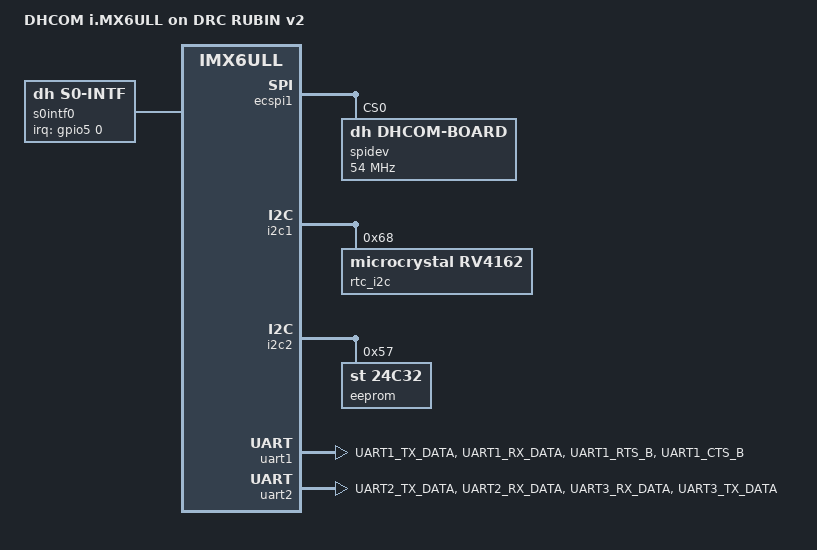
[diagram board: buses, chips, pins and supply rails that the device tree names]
// SPDX-License-Identifier: (GPL-2.0-or-later)
/*
 * Copyright (C) 2021 DH electronics GmbH
 */

/dts-v1/;

#include "imx6ull-dhcom.dtsi"
/* Special configurations */
//#include "imx6ull-dhcom-cfg-nand.dtsi"
//#include "imx6ull-dhcom-cfg-sdcard.dtsi"
//#include "imx6ull-dhcom-cfg-bootflash.dtsi"

/ {
	model = "DHCOM i.MX6ULL on DRC RUBIN v2";
	compatible = "dh,imx6ull-dhcom-drc_rubin-v2", "fsl,imx6ull";

	s0intf0 {// GPIO_A
		id = <0>; // used for minor char dev id
		compatible = "dh,s0-intf";
		interrupt-parent = <&gpio5>;
		interrupts = <0 IRQ_TYPE_EDGE_RISING>; // use GPIO_A for irq
		status = "okay";
	};
};

&cpu0 {
	imx6ull-limit-cpu-792mhz;
};

#ifndef CFG_BOOTFLASH
&ecspi1 { /* DHCOM SPI1 */
	spidev@0 {
		compatible = "dh,dhcom-board";
		reg = <0>;
		spi-max-frequency = <54000000>;
		spi-cpha; /* Shifted clock phase (CPHA) mode */
		spi-cpol; /* Inverse clock polarity (CPOL) mode */
	};
};
#endif

/delete-node/ &rtc_i2c;
&i2c1 { /* DHCOM I2C2 */
	rtc_i2c: rtc@68 {
		compatible = "microcrystal,rv4162";
		reg = <0x68>;
	};
};

&i2c2 { /* DHCOM I2C1 */
	eeprom@57 { /* ST M24C32-W, addresses 0x57 */
		compatible = "st,24c32";
		reg = <0x57>;
		pagesize = <32>;
	};
};

&uart1 { /* Prepare UART for RS485 */
	pinctrl-names = "rs485_idle", "rs485_active";
	pinctrl-0 = <&pinctrl_uart1_rs485_idle>;
	pinctrl-1 = <&pinctrl_uart1_rs485_active>;
	uart-has-rtscts;
	linux,rs485-enabled-at-boot-time;
};

&uart2 { /* Use UART as RS485 */
	pinctrl-names = "rs485_idle", "rs485_active";
	pinctrl-0 = <&pinctrl_uart2_rs485_idle>;
	pinctrl-1 = <&pinctrl_uart2_rs485_active>;
	linux,rs485-enabled-at-boot-time;
};

&iomuxc {
	pinctrl-names = "default";
	pinctrl-0 = <&pinctrl_hog_drc02>;

	pinctrl_hog_drc02: hog-drc02-grp {
		fsl,pins = <
			/* Used for uart1 CTS (RTS on DHCOM)                  GPIO I */
			MX6UL_PAD_CSI_HSYNC__GPIO4_IO20		0x400120b0 /* GPIO J -> In2 */
			MX6UL_PAD_CSI_PIXCLK__GPIO4_IO18	0x400120b0 /* GPIO K -> VA1 */
			MX6UL_PAD_CSI_MCLK__GPIO4_IO17		0x400120b0 /* GPIO L -> VA0 */
			MX6UL_PAD_CSI_VSYNC__GPIO4_IO19		0x400120b0 /* GPIO M -> RS485-1_TX_En */
#ifndef CFG_BOOTFLASH
			MX6UL_PAD_CSI_DATA07__GPIO4_IO28	0x400120b0 /* GPIO N -> PSOC_INT */
			MX6UL_PAD_CSI_DATA06__GPIO4_IO27	0x400120b0 /* GPIO O -> Out2 */
			MX6UL_PAD_CSI_DATA05__GPIO4_IO26	0x400120b0 /* GPIO P -> Out1 */
			MX6UL_PAD_CSI_DATA04__GPIO4_IO25	0x400120b0 /* GPIO Q -> HW2 */
			MX6UL_PAD_CSI_DATA03__GPIO4_IO24	0x400120b0 /* GPIO R -> HW1 */
			MX6UL_PAD_CSI_DATA02__GPIO4_IO23	0x400120b0 /* GPIO S -> HW0 */
			MX6UL_PAD_CSI_DATA01__GPIO4_IO22	0x400120b0 /* GPIO T -> RS485-1_RX_En */
			MX6UL_PAD_CSI_DATA00__GPIO4_IO21	0x400120b0 /* GPIO U -> RS485-2_RX_En */
#endif
			/* There isn't a pin defined                          GPIO V -> Not connected */
			/* There isn't a pin defined                          GPIO W -> Not connected */
			MX6UL_PAD_JTAG_TMS__GPIO1_IO11		0x400120b0 /* INT_HIGHEST_PRIORITY -> VIO */
		>;
	};

	pinctrl_uart1_rs485_idle: uart1-rs485-idle-grp {
		fsl,pins = <
			MX6UL_PAD_UART1_TX_DATA__UART1_DCE_TX	0x1b0b1
			MX6UL_PAD_UART1_RX_DATA__UART1_DCE_RX	0x1b0b1
			MX6UL_PAD_UART1_RTS_B__GPIO1_IO19	0x130b0
			MX6UL_PAD_UART1_CTS_B__GPIO1_IO18	0x130b0
		>;
	};

	pinctrl_uart1_rs485_active: uart1-rs485-active-grp {
		fsl,pins = <
			MX6UL_PAD_UART1_TX_DATA__UART1_DCE_TX	0x1b0b1
			MX6UL_PAD_UART1_RX_DATA__UART1_DCE_RX	0x1b0b1
			MX6UL_PAD_UART1_RTS_B__UART1_DCE_RTS	0x1b0b1
			MX6UL_PAD_UART1_CTS_B__UART1_DCE_CTS	0x1b0b1
		>;
	};

	pinctrl_uart2_rs485_idle: uart2-rs485-idle-grp {
		fsl,pins = <
			MX6UL_PAD_UART2_TX_DATA__UART2_DCE_TX	0x1b0b1
			MX6UL_PAD_UART2_RX_DATA__UART2_DCE_RX	0x1b0b1
			MX6UL_PAD_UART3_RX_DATA__GPIO1_IO25	0x130b0
			MX6UL_PAD_UART3_TX_DATA__GPIO1_IO24	0x130b0
		>;
	};

	pinctrl_uart2_rs485_active: uart2-rs485-active-grp {
		fsl,pins = <
			MX6UL_PAD_UART2_TX_DATA__UART2_DCE_TX	0x1b0b1
			MX6UL_PAD_UART2_RX_DATA__UART2_DCE_RX	0x1b0b1
			MX6UL_PAD_UART3_RX_DATA__UART2_DCE_RTS	0x1b0b1
			MX6UL_PAD_UART3_TX_DATA__UART2_DCE_CTS	0x1b0b1
		>;
	};
};

&iomuxc_snvs {
	pinctrl-names = "default";
	pinctrl-0 = <&pinctrl_snvs_hog_drc02>;

	pinctrl_snvs_hog_drc02: snvs-hog-drc02-grp {
		fsl,pins = <
			MX6ULL_PAD_SNVS_TAMPER0__GPIO5_IO00	0x400120b0 /* GPIO A -> S0 */
			MX6ULL_PAD_SNVS_TAMPER1__GPIO5_IO01	0x400120b0 /* GPIO B -> Debug_EN */
			MX6ULL_PAD_SNVS_TAMPER2__GPIO5_IO02	0x400120b0 /* GPIO C -> USB_OCSTAT_2 */
			MX6ULL_PAD_SNVS_TAMPER3__GPIO5_IO03	0x400120b0 /* GPIO D -> GPIO_D_LD_BL1 */
			MX6ULL_PAD_SNVS_TAMPER4__GPIO5_IO04	0x400120b0 /* GPIO E -> USB_PWR_EN_2 */
			MX6ULL_PAD_SNVS_TAMPER7__GPIO5_IO07	0x400120b0 /* GPIO F -> GPIO_F_LD_BL2 */
			MX6ULL_PAD_SNVS_TAMPER8__GPIO5_IO08	0x400120b0 /* GPIO G -> GPIO_G */
			MX6ULL_PAD_SNVS_TAMPER9__GPIO5_IO09	0x400120b0 /* GPIO H -> In1 */
		>;
	};
};
